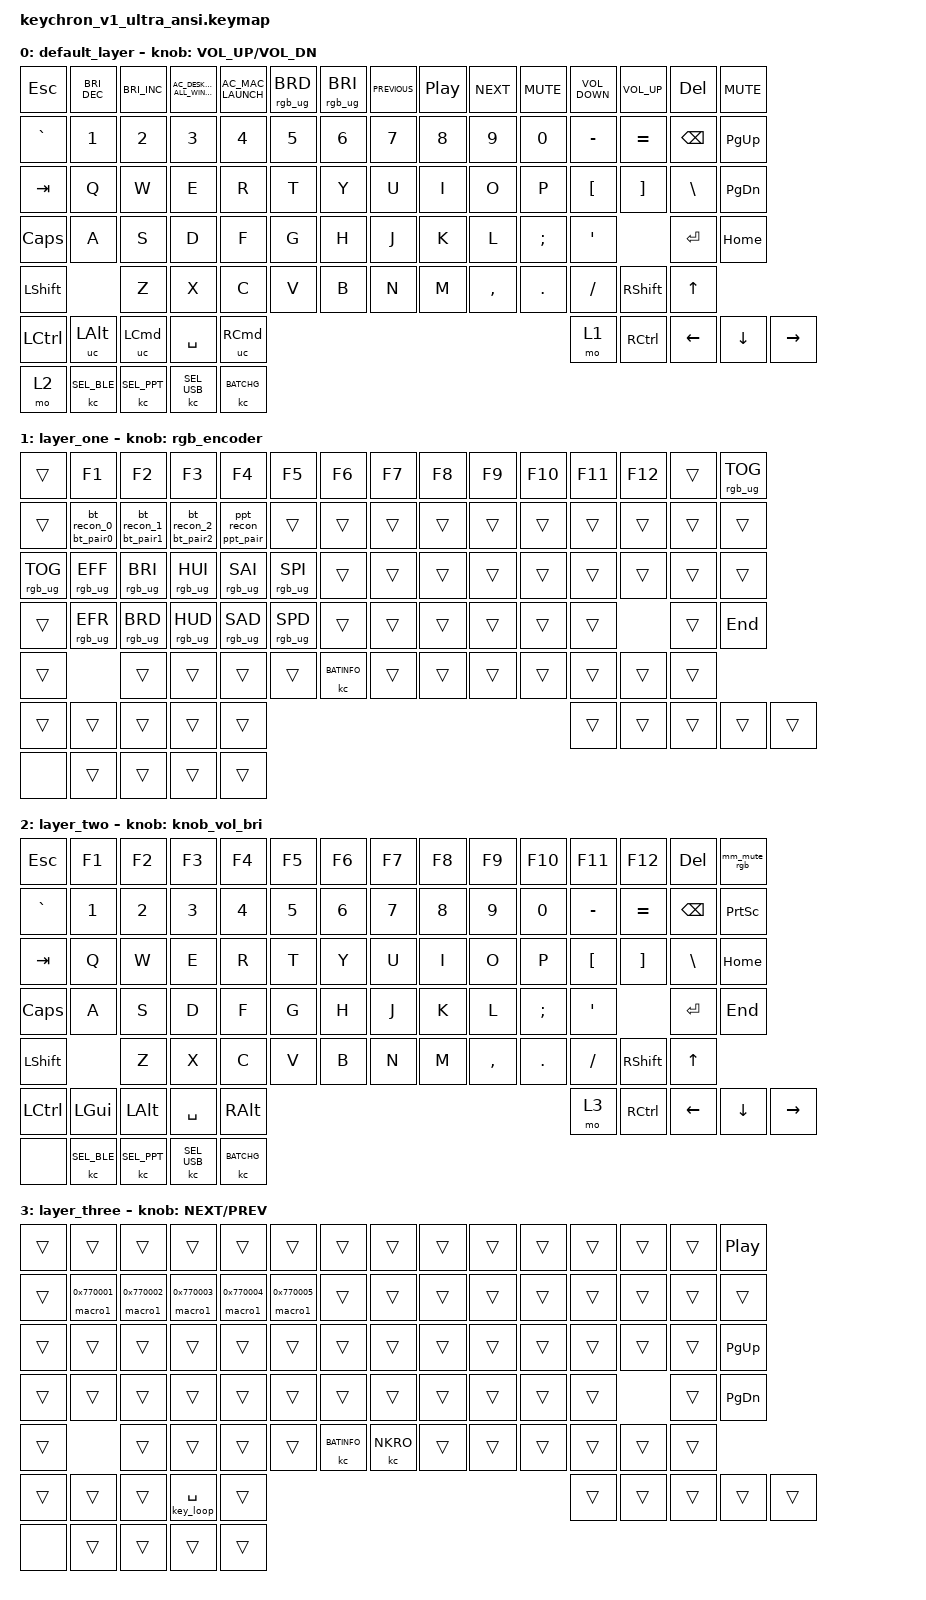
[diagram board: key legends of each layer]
/*
 * Copyright (c) 2023 The ZMK Contributors
 *
 * SPDX-License-Identifier: MIT
 */

#include <behaviors.dtsi>
#include <dt-bindings/zmk/bt.h>
#include <dt-bindings/zmk/keys.h>
#include <dt-bindings/zmk/rgb.h>
#include <dt-bindings/zmk/bt.h>
#include <dt-bindings/zmk/outputs.h>
#include <dt-bindings/zmk/keychron.h>


/ {
    behaviors {
        rgb_encoder: rgb_encoder {
            compatible = "zmk,behavior-sensor-rotate";
            #sensor-binding-cells = <0>;
            bindings = <&rgb_ug RGB_BRI>, <&rgb_ug RGB_BRD>;
            tap-ms =<20>;
        };
        mouse_encoder: mouse_encoder {
            compatible = "zmk,behavior-sensor-rotate-var";
            #sensor-binding-cells = <2>;
            bindings = <&mkp>, <&mkp>;
            tap-ms =<20>;
        mm_vol_up: mm_vol_up {
            compatible = "zmk,behavior-mod-morph";
            #binding-cells = <0>;
            bindings = <&kp C_VOL_UP>, <&rgb_ug RGB_BRI>;
            mods = <(MOD_RALT)>;
        };
        mm_vol_dn: mm_vol_dn {
            compatible = "zmk,behavior-mod-morph";
            #binding-cells = <0>;
            bindings = <&kp C_VOL_DN>, <&rgb_ug RGB_BRD>;
            mods = <(MOD_RALT)>;
        };
        mm_mute_rgb: mm_mute_rgb {
            compatible = "zmk,behavior-mod-morph";
            #binding-cells = <0>;
            bindings = <&kp C_MUTE>, <&rgb_ug RGB_TOG>;
            mods = <(MOD_RALT)>;
        };
        knob_vol_bri: knob_vol_bri {
            compatible = "zmk,behavior-sensor-rotate";
            #sensor-binding-cells = <0>;
            bindings = <&mm_vol_up>, <&mm_vol_dn>;
            tap-ms = <20>;
        };
        key_loop: key_loop {
            compatible = "zmk,behavior-key-loop";
            #binding-cells = <1>;
            delay-ms = <1>;
        };
        };
    };
    macro1:zm_ma{
        compatible = "zmk,behavior-macro-one-param";
        #binding-cells = <1>;
        bindings=<&kp 0x770000>;
    };
    lm: layer_mod {
        compatible = "zmk,behavior-macro-two-param";
        wait-ms = <0>;
        tap-ms = <0>;
        #binding-cells = <2>;
        bindings
            = <&macro_param_1to1>
            , <&macro_press &mo 0>
            , <&macro_param_2to1>
            , <&macro_press &kp 0>
            , <&macro_pause_for_release>
            , <&macro_param_2to1>
            , <&macro_release &kp 0>
            , <&macro_param_1to1>
            , <&macro_release &mo 0>
            ;
    };
    td1:tapd_layer{
        compatible = "zmk,behavior-tap-dance1";
        #binding-cells = <1>;
        tapping-term-ms = <350>;
        bindings =<&mo 0>,<&mo 0>,<&mo 0>,<&mo 0>,<&to 0>;
    };

    kc_lp:l1{
        compatible = "zmk,behavior-hold-tap";
        #binding-cells = <2>;
        flavor = "tap-preferred";
        tapping-term-ms = <3000>;  // delay amount in ms
        bindings = <&kc>,<&none>;
    };

    long_press_bootloader:lp_bootloader{
        compatible = "zmk,behavior-hold-tap";
        #binding-cells = <2>;
        flavor = "tap-preferred";
        tapping-term-ms = <3000>;  // delay amount in ms
        bindings = <&bootloader>, <&none>;
    };
    // kc_nkro:kc_nkro{
    //     compatible = "zmk,behavior-hold-tap";
    //     #binding-cells = <2>;
    //     flavor = "tap-preferred";
    //     tapping-term-ms = <2000>;  // delay amount in ms
    //     bindings = <&kc NKRO>, <&none>;
    // };
    ZMK_MACRO(bt_pair0, bindings = <&kc BT_PAIR 0>;)
    ZMK_MACRO(bt_pair1, bindings = <&kc BT_PAIR 1>;)
    ZMK_MACRO(bt_pair2, bindings = <&kc BT_PAIR 2>;)
    ZMK_MACRO(ppt_pair, bindings = <&kc PPT_PAIR 0>;)
    ZMK_MACRO(bt_recon_0, bindings = <&kc BT_SEL 0>;)
    ZMK_MACRO(bt_recon_1, bindings = <&kc BT_SEL 1>;)
    ZMK_MACRO(bt_recon_2, bindings = <&kc BT_SEL 2>;)
    ZMK_MACRO(ppt_recon, bindings = <&kc PPT_SEL 0>;)



    bt_pair_0: bt_pair_0 {
        compatible = "zmk,behavior-hold-tap";

        #binding-cells = <2>;
        flavor = "tap-preferred";
        tapping-term-ms = <3000>;  // delay amount in ms
        bindings = <&bt_pair0>, <&bt_recon_0>;
    };
    bt_pair_1: bt_pair_1 {
        compatible = "zmk,behavior-hold-tap";

        #binding-cells = <2>;
        flavor = "tap-preferred";
        tapping-term-ms = <3000>;  // delay amount in ms
        bindings = <&bt_pair1>, <&bt_recon_1>;
    };
    bt_pair_2: bt_pair_2 {
        compatible = "zmk,behavior-hold-tap";

        #binding-cells = <2>;
        flavor = "tap-preferred";
        tapping-term-ms = <3000>;  // delay amount in ms
        bindings = <&bt_pair2>, <&bt_recon_2>;
    };
    ppt_pair_0: ppt_pair_0 {
        compatible = "zmk,behavior-hold-tap";

        #binding-cells = <2>;
        flavor = "tap-preferred";
        tapping-term-ms = <3000>;  // delay amount in ms
        bindings = <&ppt_pair>, <&ppt_recon>;
    };
    uc:user_custom {
        compatible = "zmk,behavior-key-press";
        #binding-cells =<1>;
    };
    combos {
        compatible = "zmk,combos";
        combo_a {
                timeout-ms = <1000>;
                layers =< 1 3>;
                key-positions = <52 60>; //fn+j+z
                bindings = <&kc_lp RCV>;
        };
        // combo_b {
        //         timeout-ms = <1000>;
        //         layers =< 1 3>;
        //         key-positions = <64>; //fn+b
        //         bindings = <&kc BATINFO>;
        // };
        // combo_c {
        //         timeout-ms = <1000>;
        //         layers =< 1 3>;
        //         key-positions = <58 81>; //fn+home+right
        //         bindings = <&kc_lp RGBTEST>;
        // };
         combo_t0 {
            timeout-ms = <10 >;
            layers =<4>;
            key-positions = <120>;
            bindings = <&to 3 >;
        };
        combo_t1 {
            timeout-ms = <10 >;
            layers =<4>;

            key-positions = <120>;
            bindings = <&tog 3 >;
        };
        combo_t2 {
            timeout-ms = <10 >;
            layers =<4>;
            key-positions = <120>;
            bindings = <&sl 3 >;
        };
        combo_t3 {
            timeout-ms = <10 >;
            layers =<4>;
            key-positions = <120>;
            bindings = <&lt 3 SPACE>;
        };
        combo_t4 {
            timeout-ms = <10 >;
            layers =<4>;
            key-positions = <120>;
            bindings = <&sk LSHIFT>;
        };
        combo_t5 {
            timeout-ms = <10 >;
            layers =<4>;
            key-positions = <120>;
            bindings = <&mt LSHIFT SPACE>;
        };
        combo_t6 {
            timeout-ms = <10 >;
            layers =<4>;
            key-positions = <120>;
            bindings = <&gresc>;
        };
        //  combo_t7 {
        //     timeout-ms = <10 >;
        //     layers =<4>;
        //     key-positions = <120>;
        //     bindings = <&mkp 0>;
        // };
    };
    keymap {
        compatible = "zmk,keymap";
            //mac
        default_layer {
        bindings = <
          //ESC         //f1                    //f2                //f3                                    //f4                //f5                //f6            //f7            //f8                //f9        //f10       //f11               //f12               //DEL
        &kp ESC     &kp C_BRIGHTNESS_DEC    &kp C_BRIGHTNESS_INC    &kp C_AC_DESKTOP_SHOW_ALL_WINDOWS   &kp  C_AC_MAC_LAUNCH    &rgb_ug RGB_BRD     &rgb_ug RGB_BRI &kp C_PREVIOUS  &kp C_PLAY_PAUSE    &kp C_NEXT  &kp C_MUTE  &kp C_VOLUME_DOWN   &kp C_VOLUME_UP     &kp DEL                               &kp C_MUTE
        &kp GRAVE   &kp N1                  &kp N2                  &kp N3                              &kp N4                  &kp N5              &kp N6          &kp N7          &kp N8              &kp N9      &kp N0      &kp MINUS           &kp EQUAL           &kp BSPC                              &kp PG_UP
        &kp TAB     &kp Q                   &kp W                   &kp E                               &kp R                   &kp T               &kp Y           &kp U           &kp I               &kp O       &kp P       &kp LBKT            &kp RBKT            &kp BSLH                              &kp PG_DN
        &kp CLCK    &kp A                   &kp S                   &kp D                               &kp F                   &kp G               &kp H           &kp J           &kp K               &kp L       &kp SEMI    &kp SQT                                 &kp RET                               &kp HOME
        &kp LSHFT                           &kp Z                   &kp X                               &kp C                   &kp V               &kp B           &kp N           &kp M               &kp COMMA   &kp DOT     &kp FSLH            &kp RSHFT                             &kp UP
        &kp LCTRL   &uc LALT                &uc LCMD                                                                            &kp SPACE                                                                           &uc RCMD    &mo 1               &kp RCTRL           &kp LEFT          &kp DOWN            &kp RIGHT
        //keychron control
        &mo 2       &kc SEL_BLE             &kc SEL_PPT        &kc SEL_USB             &kc BATCHG
            >;
            sensor-bindings = <&inc_dec_kp C_VOL_UP C_VOL_DN>;
        };
        //mac fn layer
        layer_one  {
        bindings = <
        &trans              &kp F1                  &kp F2                  &kp F3                              &kp F4                  &kp F5              &kp F6          &kp F7          &kp F8              &kp F9      &kp F10     &kp F11             &kp F12             &trans                      &rgb_ug RGB_TOG
        &trans              &bt_pair_0 0 0          &bt_pair_1 0 0          &bt_pair_2 0 0                      &ppt_pair_0 0 0         &trans              &trans          &trans          &trans              &trans      &trans      &trans              &trans              &trans                      &trans
        &rgb_ug RGB_TOG     &rgb_ug RGB_EFF         &rgb_ug RGB_BRI         &rgb_ug RGB_HUI                     &rgb_ug RGB_SAI         &rgb_ug RGB_SPI     &trans          &trans          &trans              &trans      &trans      &trans              &trans              &trans                      &trans
        &trans              &rgb_ug RGB_EFR         &rgb_ug RGB_BRD         &rgb_ug RGB_HUD                     &rgb_ug RGB_SAD         &rgb_ug RGB_SPD     &trans          &trans          &trans              &trans      &trans      &trans                                  &trans                      &kp END
        &trans                                      &trans                  &trans                              &trans                  &trans              &kc BATINFO     &trans          &trans              &trans      &trans      &trans              &trans                           &trans
        &trans              &trans                  &trans                                                                              &trans                                                                              &trans      &trans              &trans              &trans       &trans         &trans
        //
        &none               &trans                  &trans                   &trans        &trans
        >;
        sensor-bindings = <&rgb_encoder>;
        };
        //win
        layer_two {
            bindings = <
            &kp ESC &kp F1 &kp F2 &kp F3 &kp F4 &kp F5 &kp F6 &kp F7 &kp F8 &kp F9 &kp F10 &kp F11 &kp F12 &kp DEL &mm_mute_rgb
            &kp GRAVE &kp N1 &kp N2 &kp N3 &kp N4 &kp N5 &kp N6 &kp N7 &kp N8 &kp N9 &kp N0 &kp MINUS &kp EQUAL &kp BSPC &kp PSCRN
            &kp TAB &kp Q &kp W &kp E &kp R &kp T &kp Y &kp U &kp I &kp O &kp P &kp LBKT &kp RBKT &kp BSLH &kp HOME
            &kp CLCK &kp A &kp S &kp D &kp F &kp G &kp H &kp J &kp K &kp L &kp SEMI &kp SQT &kp RET &kp END
            &kp LSHFT &kp Z &kp X &kp C &kp V &kp B &kp N &kp M &kp COMMA &kp DOT &kp FSLH &kp RSHFT &kp UP
            &kp LCTRL &kp LGUI &kp LALT &kp SPACE &kp RALT &mo 3 &kp RCTRL &kp LEFT &kp DOWN &kp RIGHT
            &none &kc SEL_BLE &kc SEL_PPT &kc SEL_USB &kc BATCHG
            >;
            sensor-bindings = <&knob_vol_bri>;
        };
        layer_three {
            bindings = <
            &trans &trans &trans &trans &trans &trans &trans &trans &trans &trans &trans &trans &trans &trans &kp C_PLAY_PAUSE
            &trans &macro1 0x770001 &macro1 0x770002 &macro1 0x770003 &macro1 0x770004 &macro1 0x770005 &trans &trans &trans &trans &trans &trans &trans &trans &trans
            &trans &trans &trans &trans &trans &trans &trans &trans &trans &trans &trans &trans &trans &trans &kp PG_UP
            &trans &trans &trans &trans &trans &trans &trans &trans &trans &trans &trans &trans &trans &kp PG_DN
            &trans &trans &trans &trans &trans &kc BATINFO &kc NKRO &trans &trans &trans &trans &trans &trans
            &trans &trans &trans &key_loop SPACE &trans &trans &trans &trans &trans &trans
            &none &trans &trans &trans &trans
            >;
            sensor-bindings = <&inc_dec_kp C_NEXT C_PREV>;
        };
    };
};
&mt {
    tapping-term-ms = <400>;
};
&inc_dec_kp {
    tap-ms=<20>;
};
